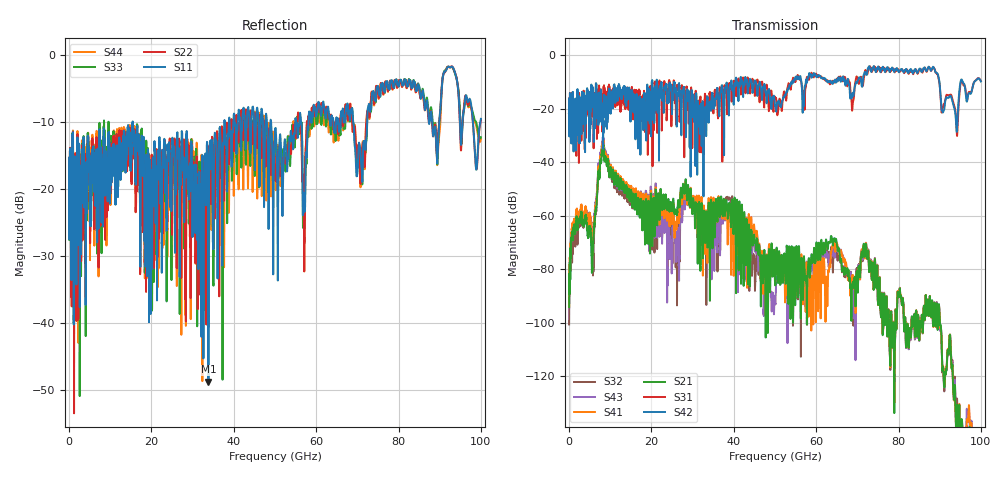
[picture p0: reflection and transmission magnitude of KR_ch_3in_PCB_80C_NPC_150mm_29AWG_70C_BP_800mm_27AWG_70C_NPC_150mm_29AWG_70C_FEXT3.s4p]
# GHz S RI R 45
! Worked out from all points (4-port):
!   4000 points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, 25 MHz to 100 GHz, reference 45 ohm
!   strongest paths, dB at 25 MHz, 25.02 GHz, 50.02 GHz, 75.03 GHz, 100 GHz:
!     S42: -21.8, -20.6, -18.8, -4.2, -9.7
!     S31: -21.8, -12.9, -15.6, -4.9, -9.6
!     S21: -94.3, -57.6, -84.6, -92.8, -155.0
!     S41: -94.2, -60.7, -78.5, -92.7, -150.1
!     S43: -94.3, -73.9, -91.6, -92.4, -159.4
!     S32: -100.8, -72.8, -84.3, -92.6, -157.2
!   lowest |S11| = -48.8 dB at 33.85 GHz (marker M1), VSWR 1.01, Z = 45.3 - j0.0686 ohm
!   |S11| at or under -10 dB: start of sweep to 15.45 GHz; 15.46 GHz to 37.71 GHz (22.25 GHz wide, 83.7 % of centre); 49.07 GHz to 54.91 GHz (5.843 GHz wide, 11.2 % of centre) (the widest 3 of 27)
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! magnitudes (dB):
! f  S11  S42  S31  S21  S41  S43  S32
! 25 MHz  -17.2  -21.8  -21.8  -94.3  -94.2  -94.3  -100.8
! 5.775 GHz  -17.0  -14.4  -18.6  -73.8  -68.3  -69.5  -73.8
! 8.3 GHz  -16.1  -27.3  -14.6  -33.5  -31.9  -30.7  -32.1
! 24.73 GHz  -18.3  -11.7  -14.2  -54.9  -58.8  -69.4  -64.4
! 28.7 GHz  -14.0  -12.7  -14.7  -54.3  -55.8  -56.0  -54.6
! 33.85 GHz  -48.8  -24.0  -21.9  -56.9  -54.8  -56.1  -58.8
! 100 GHz  -9.5  -9.7  -9.6  -155.0  -150.1  -159.4  -157.2
